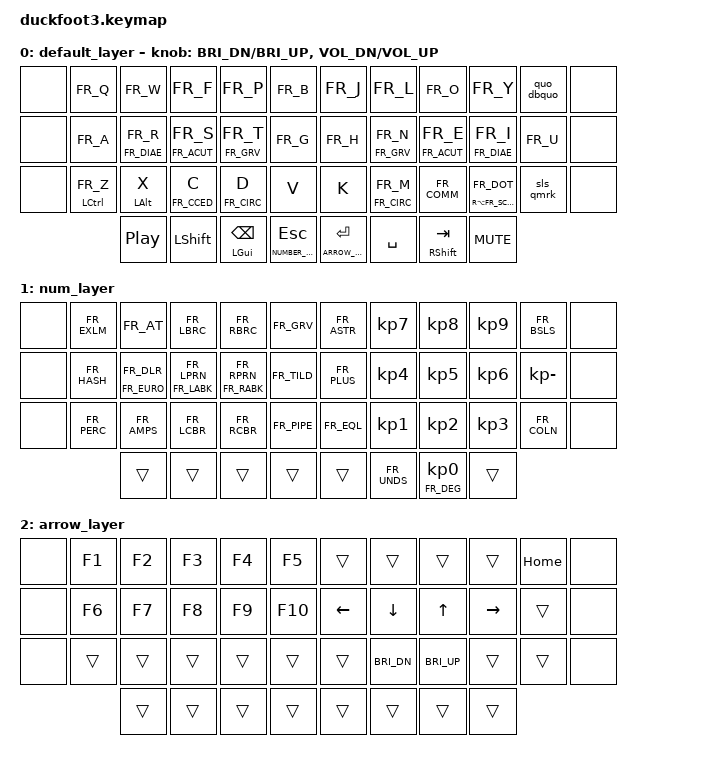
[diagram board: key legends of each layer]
/*
 * Copyright (c) 2020 The ZMK Contributors
 *
 * SPDX-License-Identifier: MIT
 */

#include <behaviors.dtsi>
#include <dt-bindings/zmk/keys.h>
#include <dt-bindings/zmk/bt.h>
#include "helper/keypos.h"
#include "helper/keymap_french_mac.h"



#define KEYS_L LT0 LT1 LT2 LT3 LT4 LT5 LM0 LM1 LM2 LM3 LM4 LM5 LB0 LB1 LB2 LB3 LB4 LB5 // left-hand keys
#define KEYS_R RT0 RT1 RT2 RT3 RT4 RT5 RM0 RM1 RM2 RM3 RM4 RM5 RB0 RB1 RB2 RB3 RB4 RB5 // right-hand keys
#define THUMBS LH3 LH2 LH1 LH0 RH0 RH1 RH2 RH3                                         // thumb keys

#define NUMBER_LAYER 1
#define ARROW_LAYER  2

&mt {
    flavor = "tap-preferred";
    tapping-term-ms = <175>;
    quick-tap-ms = <200>;
};



/ { 

    behaviors {

        // Positional hold tap
        lh_pht: left_hand_positional_hold_tap {
            compatible = "zmk,behavior-hold-tap";
            label = "LEFT_POSITIONAL_HOLD_TAP";
            #binding-cells = <2>;
            flavor = "balanced";
            tapping-term-ms = <1000>;                         // <---[[produces tap if held longer than tapping-term-ms]]
            quick-tap-ms = <0>;
            bindings = <&kp>, <&kp>;
            hold-trigger-key-positions = <KEYS_R THUMBS>;    // <---[[right-hand keys]]
        };
        rh_pht: right_hand_positional_hold_tap {
            compatible = "zmk,behavior-hold-tap";
            label = "RIGHT_POSITIONAL_HOLD_TAP";
            #binding-cells = <2>;
            flavor = "balanced";
            tapping-term-ms = <1000>;                         // <---[[produces tap if held longer than tapping-term-ms]]
            quick-tap-ms = <0>;
            bindings = <&kp>, <&kp>;
            hold-trigger-key-positions = <KEYS_L THUMBS>;    // <---[[left-hand keys]]
        };

        // Mod morph
        sls_qmrk: sls_question_mark {
            compatible = "zmk,behavior-mod-morph";
            label = "SLS_QUESTION_MARK";
            #binding-cells = <0>;
            bindings = <&mt FR_BSLS FR_SLSH>, <&kp FR_QUES>;
            mods = <(MOD_LSFT|MOD_RSFT)>;
        };
        scln_coln: semicolon_colon {
            compatible = "zmk,behavior-mod-morph";
            label = "SEMICOLON_COLON";
            #binding-cells = <0>;
            bindings = <&kp FR_SCLN>, <&kp FR_COLN>;
            mods = <(MOD_LSFT|MOD_RSFT)>;
        };
        quo_dbquo: quote_doublequote {
            compatible = "zmk,behavior-mod-morph";
            label = "QUOTE_DOUBLEQUOTE";
            #binding-cells = <0>;
            bindings = <&kp FR_QUOT>, <&kp FR_DQUO>;
            mods = <(MOD_LSFT|MOD_RSFT)>;
        };
    };

        macros {
            eqarrw: eqarrw_macro {
                compatible = "zmk,behavior-macro";
                label = "EQARRW";
                #binding-cells = <0>;
                bindings = <&kp KP_EQUAL &kp FR_RABK>;
            };
            dasharrw: dasharrw_macro {
                compatible = "zmk,behavior-macro";
                label = "DASHARRW";
                #binding-cells = <0>;
                bindings = <&kp KP_MINUS &kp FR_RABK>;
            };
            
            trplgrv: trplgrv_macro {
                compatible = "zmk,behavior-macro";
                label = "TRPLGRV";
                #binding-cells = <0>;
                wait-ms = <1>;
                bindings = <&kp GRAVE &kp GRAVE &kp GRAVE>;
            };
        };

        combos {
            compatible = "zmk,combos";
            combo_arrow1 {
                timeout-ms = <20>;
                key-positions = <RT1 RM1>;
                bindings = <&eqarrw>;
            };
            combo_arrow2 {
                timeout-ms = <20>;
                key-positions = <RT2 RM2>;
                bindings = <&dasharrw>;
            };
            combo_esc {
                timeout-ms = <50>;
                key-positions = <LM1 LM2 LM3>;
                bindings = <&kp ESC>;
            };
            combo_ent {
                timeout-ms = <50>;
                key-positions = <RM1 RM2 RM3>;
                bindings = <&kp RET>;
            };
            combo_reset {
                timeout-ms = <20>;
                key-positions = <RT4 RM4 RB4>;
                bindings = <&bt BT_CLR>;
            };
            combo_lock_screen {
                timeout-ms = <20>;
                key-positions = <RT0 RT1 RM0 RM1>;
                bindings = <&kp LC(LS(K_PWR))>;
            };
            combo_print_screen {
                timeout-ms = <20>;
                key-positions = <LT0 LT1 LM0 LM1>;
                bindings = <&kp LS(LG(N4))>;
            };
            combo_semic {
                timeout-ms = <20>;
                key-positions = <RB2 RB3>;
                bindings = <&scln_coln>;
            };
        };

        keymap {
            compatible = "zmk,keymap";
            default_layer {
        bindings = <
        &none  &kp FR_Q       &kp FR_W              &kp FR_F              &kp FR_P             &kp FR_B                          &kp FR_J             &kp FR_L              &kp FR_O              &kp FR_Y                &quo_dbquo  &none
        &none  &kp FR_A       &lh_pht FR_DIAE FR_R  &lh_pht FR_ACUT FR_S  &lh_pht FR_GRV FR_T  &kp FR_G                          &kp FR_H             &rh_pht FR_GRV FR_N   &rh_pht FR_ACUT FR_E  &rh_pht FR_DIAE FR_I    &kp FR_U    &none
        &none  &mt LCTL FR_Z  &mt LALT X            &mt FR_CCED C         &lh_pht FR_CIRC D    &kp V                             &kp K                &rh_pht FR_CIRC FR_M  &kp FR_COMM           &mt RA(FR_SCLN) FR_DOT  &sls_qmrk   &none
                              &kp C_PP              &kp LSHIFT            &mt LGUI BSPC        &lt NUMBER_LAYER ESC              &lt ARROW_LAYER RET  &kp SPACE             &mt RSHIFT TAB        &kp K_MUTE
        >;
        sensor-bindings = <&inc_dec_kp C_BRI_DN C_BRI_UP &inc_dec_kp C_VOL_DN C_VOL_UP>;
        };
        
            num_layer {
        bindings = <
        &none  &kp FR_EXLM  &kp FR_AT           &kp FR_LBRC          &kp FR_RBRC          &kp FR_GRV              &kp FR_ASTR  &kp KP_N7    &kp KP_N8          &kp KP_N9  &kp FR_BSLS   &none
        &none  &kp FR_HASH  &mt FR_EURO FR_DLR  &mt FR_LABK FR_LPRN  &mt FR_RABK FR_RPRN  &kp FR_TILD             &kp FR_PLUS  &kp KP_N4    &kp KP_N5          &kp KP_N6  &kp KP_MINUS  &none
        &none  &kp FR_PERC  &kp FR_AMPS         &kp FR_LCBR          &kp FR_RCBR          &kp FR_PIPE             &kp FR_EQL   &kp KP_N1    &kp KP_N2          &kp KP_N3  &kp FR_COLN   &none
                            &trans              &trans               &trans               &trans                  &trans       &kp FR_UNDS  &mt FR_DEG KP_N0   &trans
        >;
        };
        
            arrow_layer {
        bindings = <
        &none  &kp F1  &kp F2  &kp F3     &kp F4     &kp F5               &trans          &trans          &trans        &trans           &kp HOME  &none
        &none  &kp F6  &kp F7  &kp F8     &kp F9     &kp F10              &kp LEFT        &kp DOWN        &kp UP        &kp RIGHT        &trans    &none
        &none  &trans  &trans  &trans     &trans     &trans               &trans          &kp C_BRI_DN    &kp C_BRI_UP  &trans           &trans    &none
                       &trans  &trans     &trans     &trans               &trans          &trans          &trans        &trans
        >;
        };
    };
};
